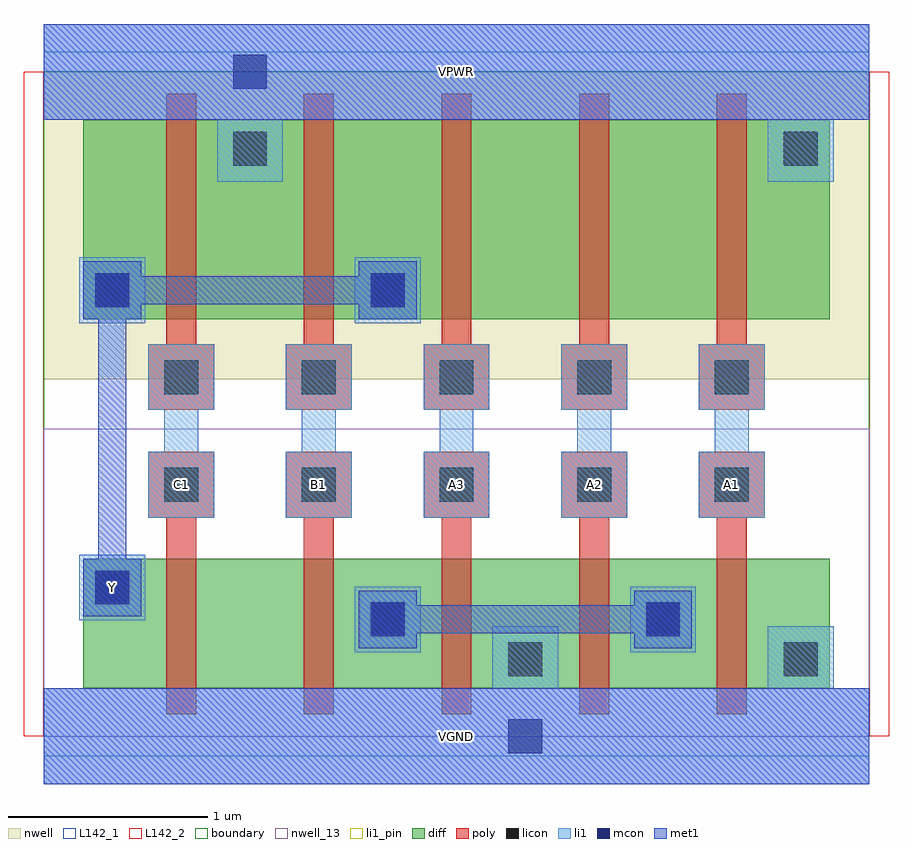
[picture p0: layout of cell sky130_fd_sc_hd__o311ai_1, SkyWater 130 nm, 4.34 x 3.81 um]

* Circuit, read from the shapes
.subckt sky130_fd_sc_hd__o311ai_1 A1 A2 A3 B1 C1 VGND VPWR Y
XM1 n1 C1 Y VSUBS sky130_fd_pr__nfet_01v8 w=0.65 l=0.15
XM2 n2 B1 n1 VSUBS sky130_fd_pr__nfet_01v8 w=0.65 l=0.15
XM3 VGND A3 n2 VSUBS sky130_fd_pr__nfet_01v8 w=0.65 l=0.15
XM4 n2 A2 VGND VSUBS sky130_fd_pr__nfet_01v8 w=0.65 l=0.15
XM5 VGND A1 n2 VSUBS sky130_fd_pr__nfet_01v8 w=0.65 l=0.15
XM6 VPWR C1 Y n3 sky130_fd_pr__pfet_01v8 w=1 l=0.15
XM7 Y B1 VPWR n3 sky130_fd_pr__pfet_01v8 w=1 l=0.15
XM8 n4 A3 Y n3 sky130_fd_pr__pfet_01v8 w=1 l=0.15
XM9 n5 A2 n4 n3 sky130_fd_pr__pfet_01v8 w=1 l=0.15
XM10 VPWR A1 n5 n3 sky130_fd_pr__pfet_01v8 w=1 l=0.15
.ends

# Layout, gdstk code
import gdstk
lib = gdstk.Library(unit=1e-6, precision=1e-09)
def R(c, l, rs):  # rectangles x0, y0, x1, y1
    for r in rs: c.add(gdstk.rectangle(r[:2], r[2:], *l))
def A(c, l, x, y, w, h, nx, ny, dx, dy):  # array of equal rectangles
    R(c, l, [(x+i*dx, y+j*dy, x+i*dx+w, y+j*dy+h) for i in range(nx) for j in range(ny)])
def P(c, l, *ps):  # polygons
    for p in ps: c.add(gdstk.Polygon(p, *l))
nwell_13 = (64, 13)
nwell = (64, 20)
diff = (65, 20)
poly = (66, 20)
licon = (66, 44)
li1_pin = (67, 16)
li1 = (67, 20)
mcon = (67, 44)
met1 = (68, 20)
L142_1 = (142, 1)
L142_2 = (142, 2)
boundary = (235, 4)

sky130_fd_sc_hd__o311ai_ = lib.new_cell('sky130_fd_sc_hd__o311ai_1')
R(sky130_fd_sc_hd__o311ai_, nwell_13, [(0,0,4.14,1.54)])
R(sky130_fd_sc_hd__o311ai_, nwell, [(0,1.79,4.14,3.33)])
A(sky130_fd_sc_hd__o311ai_, diff, 0.615, 0.24, 0.69, 0.65, 4, 1, 0.69, 0)
A(sky130_fd_sc_hd__o311ai_, diff, 0.615, 2.09, 0.69, 1, 4, 1, 0.69, 0)
R(sky130_fd_sc_hd__o311ai_, diff, [(0.2,0.24,3.94,0.89), (0.2,0.24,0.615,0.89), (3.375,0.24,3.94,0.89), (0.2,2.09,3.94,3.09), (0.2,2.09,0.615,3.09), (3.375,2.09,3.94,3.09)])
P(sky130_fd_sc_hd__o311ai_, poly, [(2.685,0.11),(2.685,1.095),(2.595,1.095),(2.595,1.425),(2.925,1.425),(2.925,1.095),(2.835,1.095),(2.835,0.11)],
  [(2.595,1.635),(2.595,1.965),(2.685,1.965),(2.685,3.22),(2.835,3.22),(2.835,1.965),(2.925,1.965),(2.925,1.635)],
  [(3.375,0.11),(3.375,1.095),(3.285,1.095),(3.285,1.425),(3.615,1.425),(3.615,1.095),(3.525,1.095),(3.525,0.11)],
  [(3.285,1.635),(3.285,1.965),(3.375,1.965),(3.375,3.22),(3.525,3.22),(3.525,1.965),(3.615,1.965),(3.615,1.635)],
  [(1.995,0.11),(1.995,1.095),(1.905,1.095),(1.905,1.425),(2.235,1.425),(2.235,1.095),(2.145,1.095),(2.145,0.11)],
  [(1.905,1.635),(1.905,1.965),(1.995,1.965),(1.995,3.22),(2.145,3.22),(2.145,1.965),(2.235,1.965),(2.235,1.635)],
  [(0.615,0.11),(0.615,1.095),(0.525,1.095),(0.525,1.425),(0.855,1.425),(0.855,1.095),(0.765,1.095),(0.765,0.11)],
  [(0.525,1.635),(0.525,1.965),(0.615,1.965),(0.615,3.22),(0.765,3.22),(0.765,1.965),(0.855,1.965),(0.855,1.635)],
  [(1.305,0.11),(1.305,1.095),(1.215,1.095),(1.215,1.425),(1.545,1.425),(1.545,1.095),(1.455,1.095),(1.455,0.11)],
  [(1.215,1.635),(1.215,1.965),(1.305,1.965),(1.305,3.22),(1.455,3.22),(1.455,1.965),(1.545,1.965),(1.545,1.635)])
A(sky130_fd_sc_hd__o311ai_, licon, 0.605, 1.175, 0.17, 0.17, 5, 2, 0.69, 0.54)
R(sky130_fd_sc_hd__o311ai_, licon, [(2.33,0.3,2.5,0.47), (3.71,0.3,3.88,0.47), (1.64,0.5,1.81,0.67), (3.02,0.5,3.19,0.67), (0.26,0.66,0.43,0.83), (0.26,2.15,0.43,2.32), (1.64,2.15,1.81,2.32), (0.95,2.86,1.12,3.03), (3.71,2.86,3.88,3.03)])
R(sky130_fd_sc_hd__o311ai_, li1_pin, [(0,-0.24,4.14,0.24), (0.18,0.58,0.51,0.91), (0,3.09,4.14,3.57)])
P(sky130_fd_sc_hd__o311ai_, li1_pin, [(0.525,1.095),(0.525,1.425),(0.605,1.425),(0.605,1.635),(0.525,1.635),(0.525,1.965),(0.855,1.965),(0.855,1.635),(0.775,1.635),(0.775,1.425),(0.855,1.425),(0.855,1.095)],
  [(1.905,1.095),(1.905,1.425),(1.985,1.425),(1.985,1.635),(1.905,1.635),(1.905,1.965),(2.235,1.965),(2.235,1.635),(2.155,1.635),(2.155,1.425),(2.235,1.425),(2.235,1.095)],
  [(1.215,1.095),(1.215,1.425),(1.295,1.425),(1.295,1.635),(1.215,1.635),(1.215,1.965),(1.545,1.965),(1.545,1.635),(1.465,1.635),(1.465,1.425),(1.545,1.425),(1.545,1.095)],
  [(3.285,1.095),(3.285,1.425),(3.365,1.425),(3.365,1.635),(3.285,1.635),(3.285,1.965),(3.615,1.965),(3.615,1.635),(3.535,1.635),(3.535,1.425),(3.615,1.425),(3.615,1.095)],
  [(2.595,1.095),(2.595,1.425),(2.675,1.425),(2.675,1.635),(2.595,1.635),(2.595,1.965),(2.925,1.965),(2.925,1.635),(2.845,1.635),(2.845,1.425),(2.925,1.425),(2.925,1.095)])
R(sky130_fd_sc_hd__o311ai_, li1, [(1.56,0.42,1.89,0.75), (2.94,0.42,3.27,0.75), (0.18,0.58,0.51,0.91), (0.18,2.07,0.51,2.4), (1.56,2.07,1.89,2.4)])
P(sky130_fd_sc_hd__o311ai_, li1, [(2.595,1.095),(2.595,1.425),(2.675,1.425),(2.675,1.635),(2.595,1.635),(2.595,1.965),(2.925,1.965),(2.925,1.635),(2.845,1.635),(2.845,1.425),(2.925,1.425),(2.925,1.095)],
  [(0.87,2.78),(0.87,3.09),(0,3.09),(0,3.57),(4.14,3.57),(4.14,3.09),(3.96,3.09),(3.96,2.78),(3.63,2.78),(3.63,3.09),(1.2,3.09),(1.2,2.78)],
  [(3.285,1.095),(3.285,1.425),(3.365,1.425),(3.365,1.635),(3.285,1.635),(3.285,1.965),(3.615,1.965),(3.615,1.635),(3.535,1.635),(3.535,1.425),(3.615,1.425),(3.615,1.095)],
  [(0,-0.24),(0,0.24),(2.25,0.24),(2.25,0.55),(2.58,0.55),(2.58,0.24),(3.63,0.24),(3.63,0.55),(3.96,0.55),(3.96,0.24),(4.14,0.24),(4.14,-0.24)],
  [(1.905,1.095),(1.905,1.425),(1.985,1.425),(1.985,1.635),(1.905,1.635),(1.905,1.965),(2.235,1.965),(2.235,1.635),(2.155,1.635),(2.155,1.425),(2.235,1.425),(2.235,1.095)],
  [(0.525,1.095),(0.525,1.425),(0.605,1.425),(0.605,1.635),(0.525,1.635),(0.525,1.965),(0.855,1.965),(0.855,1.635),(0.775,1.635),(0.775,1.425),(0.855,1.425),(0.855,1.095)],
  [(1.215,1.095),(1.215,1.425),(1.295,1.425),(1.295,1.635),(1.215,1.635),(1.215,1.965),(1.545,1.965),(1.545,1.635),(1.465,1.635),(1.465,1.425),(1.545,1.425),(1.545,1.095)])
R(sky130_fd_sc_hd__o311ai_, mcon, [(2.33,-0.085,2.5,0.085), (1.64,0.5,1.81,0.67), (3.02,0.5,3.19,0.67), (0.26,0.66,0.43,0.83), (0.26,2.15,0.43,2.32), (1.64,2.15,1.81,2.32), (0.95,3.245,1.12,3.415)])
R(sky130_fd_sc_hd__o311ai_, met1, [(0,-0.24,4.14,0.24), (0,3.09,4.14,3.57)])
P(sky130_fd_sc_hd__o311ai_, met1, [(0.2,0.6),(0.2,0.89),(0.275,0.89),(0.275,2.09),(0.2,2.09),(0.2,2.38),(0.49,2.38),(0.49,2.305),(1.58,2.305),(1.58,2.38),(1.87,2.38),(1.87,2.09),(1.58,2.09),(1.58,2.165),(0.49,2.165),(0.49,2.09),(0.415,2.09),(0.415,0.89),(0.49,0.89),(0.49,0.6)],
  [(1.58,0.44),(1.58,0.73),(1.87,0.73),(1.87,0.655),(2.96,0.655),(2.96,0.73),(3.25,0.73),(3.25,0.44),(2.96,0.44),(2.96,0.515),(1.87,0.515),(1.87,0.44)])
R(sky130_fd_sc_hd__o311ai_, L142_1, [(0,-0.1,4.14,0), (0,3.33,4.14,3.43)])
R(sky130_fd_sc_hd__o311ai_, L142_2, [(-0.1,0,0,3.33), (4.14,0,4.24,3.33)])
R(sky130_fd_sc_hd__o311ai_, boundary, [(0,0,4.14,3.33)])
sky130_fd_sc_hd__o311ai_.add(gdstk.Label('Y', (0.345,0.745), layer=67, texttype=5))
sky130_fd_sc_hd__o311ai_.add(gdstk.Label('C1', (0.69,1.26), layer=67, texttype=5))
sky130_fd_sc_hd__o311ai_.add(gdstk.Label('A3', (2.07,1.26), layer=67, texttype=5))
sky130_fd_sc_hd__o311ai_.add(gdstk.Label('B1', (1.38,1.26), layer=67, texttype=5))
sky130_fd_sc_hd__o311ai_.add(gdstk.Label('A1', (3.45,1.26), layer=67, texttype=5))
sky130_fd_sc_hd__o311ai_.add(gdstk.Label('A2', (2.76,1.26), layer=67, texttype=5))
sky130_fd_sc_hd__o311ai_.add(gdstk.Label('VGND', (2.07,0), layer=67, texttype=5))
sky130_fd_sc_hd__o311ai_.add(gdstk.Label('VPWR', (2.07,3.33), layer=67, texttype=5))
sky130_fd_sc_hd__o311ai_.add(gdstk.Label('VGND', (2.07,0), layer=68, texttype=5))
sky130_fd_sc_hd__o311ai_.add(gdstk.Label('VPWR', (2.07,3.33), layer=68, texttype=5))

lib.write_gds('sky130_fd_sc_hd__o311ai_1.gds')
